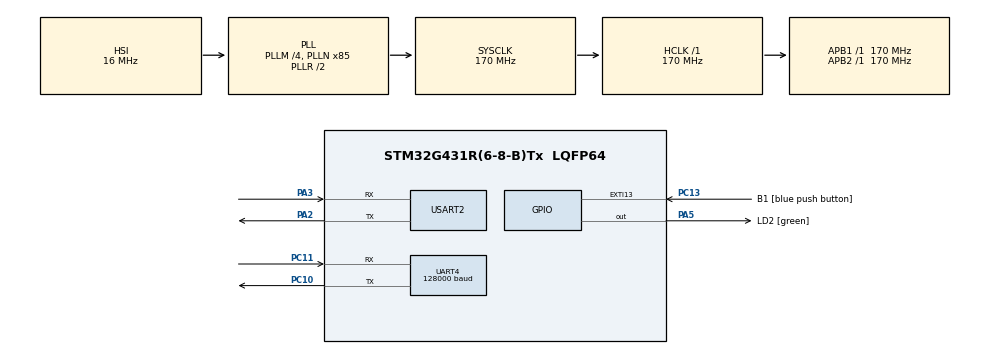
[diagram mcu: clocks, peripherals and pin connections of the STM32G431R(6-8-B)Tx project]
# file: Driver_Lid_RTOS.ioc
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Dma.Request0=UART4_RX
Dma.UART4_RX.0.Direction=DMA_PERIPH_TO_MEMORY
Dma.UART4_RX.0.EventEnable=DISABLE
Dma.UART4_RX.0.Instance=DMA1_Channel1
Dma.UART4_RX.0.MemDataAlignment=DMA_MDATAALIGN_BYTE
Dma.UART4_RX.0.MemInc=DMA_MINC_ENABLE
Dma.UART4_RX.0.Mode=DMA_CIRCULAR
Dma.UART4_RX.0.PeriphDataAlignment=DMA_PDATAALIGN_BYTE
Dma.UART4_RX.0.PeriphInc=DMA_PINC_DISABLE
Dma.UART4_RX.0.Polarity=HAL_DMAMUX_REQ_GEN_RISING
Dma.UART4_RX.0.Priority=DMA_PRIORITY_LOW
Dma.UART4_RX.0.RequestNumber=1
Dma.UART4_RX.0.SignalID=NONE
Dma.UART4_RX.0.SyncEnable=DISABLE
Dma.UART4_RX.0.SyncPolarity=HAL_DMAMUX_SYNC_NO_EVENT
Dma.UART4_RX.0.SyncRequestNumber=1
Dma.UART4_RX.0.SyncSignalID=NONE
FREERTOS.Tasks01=defaultTask,0,128,StartDefaultTask,Default,NULL,Dynamic,NULL,NULL
FREERTOS.configCHECK_FOR_STACK_OVERFLOW=2
FREERTOS.configGENERATE_RUN_TIME_STATS=1
FREERTOS.configRECORD_STACK_HIGH_ADDRESS=1
FREERTOS.configTOTAL_HEAP_SIZE=20000
FREERTOS.configUSE_NEWLIB_REENTRANT=0
FREERTOS.configUSE_STATS_FORMATTING_FUNCTIONS=1
FREERTOS.configUSE_TRACE_FACILITY=1
Mcu.Family=STM32G4
Mcu.Name=STM32G431R(6-8-B)Tx
Mcu.Package=LQFP64
NVIC.DMA1_Channel1_IRQn=true\:5\:0\:true\:false\:true\:true\:false\:true\:true
NVIC.PriorityGroup=NVIC_PRIORITYGROUP_4
NVIC.TIM6_DAC_IRQn=true\:15\:0\:false\:false\:true\:false\:false\:true\:true
NVIC.TimeBase=TIM6_DAC_IRQn
NVIC.TimeBaseIP=TIM6
NVIC.UART4_IRQn=true\:5\:0\:false\:false\:true\:true\:true\:true\:true
PA13.GPIO_Label=T_SWDIO
PA13.Signal=SYS_JTMS-SWDIO
PA14.GPIO_Label=T_SWCLK
PA14.Signal=SYS_JTCK-SWCLK
PA2.Mode=Asynchronous
PA2.Signal=USART2_TX
PA3.Mode=Asynchronous
PA3.Signal=USART2_RX
PA5.GPIO_Label=LD2 [green]
PA5.Signal=GPIO_Output
PB3.GPIO_Label=T_SWO
PB3.Signal=SYS_JTDO-SWO
PC10.Mode=Asynchronous
PC10.Signal=UART4_TX
PC11.Mode=Asynchronous
PC11.Signal=UART4_RX
PC13.GPIO_Label=B1 [blue push button]
PC13.Signal=GPXTI13
PC14-OSC32_IN.GPIO_Label=RCC_OSC32_OUT
PC14-OSC32_IN.Signal=RCC_OSC32_IN
PC15-OSC32_OUT.GPIO_Label=RCC_OSC32_OUT
PC15-OSC32_OUT.Signal=RCC_OSC32_OUT
PF0-OSC_IN.GPIO_Label=RCC_OSC_IN
PF0-OSC_IN.Signal=RCC_OSC_IN
PF1-OSC_OUT.GPIO_Label=RCC_OSC_OUT
PF1-OSC_OUT.Signal=RCC_OSC_OUT
ProjectManager.HeapSize=0x000
ProjectManager.StackSize=0x400
ProjectManager.TargetToolchain=STM32CubeIDE
RCC.ADC12Freq_Value=170000000
RCC.AHBFreq_Value=170000000
RCC.APB1Freq_Value=170000000
RCC.APB1TimFreq_Value=170000000
RCC.APB2Freq_Value=170000000
RCC.APB2TimFreq_Value=170000000
RCC.CortexFreq_Value=170000000
RCC.EXTERNAL_CLOCK_VALUE=12288000
RCC.HCLKFreq_Value=170000000
RCC.HSE_VALUE=24000000
RCC.HSI48_VALUE=48000000
RCC.HSI_VALUE=16000000
RCC.LSE_VALUE=32768
RCC.PLLM=RCC_PLLM_DIV4
RCC.PLLN=85
RCC.RTCClockSelection=RCC_RTCCLKSOURCE_LSE
RCC.SYSCLKFreq_VALUE=170000000
RCC.SYSCLKSource=RCC_SYSCLKSOURCE_PLLCLK
RCC.USBFreq_Value=170000000
RCC.VCOOutputFreq_Value=340000000
UART4.BaudRate=128000
USART2.VirtualMode-Asynchronous=VM_ASYNC
VP_FREERTOS_VS_CMSIS_V1.Mode=CMSIS_V1
VP_SYS_VS_DBSignals.Mode=DisableDeadBatterySignals
VP_SYS_VS_tim6.Mode=TIM6
board=NUCLEO-G431RB

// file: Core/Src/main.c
/* USER CODE BEGIN Header */
/**
  ******************************************************************************
  * @file           : main.c
  * @brief          : Main program body
  ******************************************************************************
  * @attention
  *
  * Copyright (c) 2024 STMicroelectronics.
  * All rights reserved.
  *
  * This software is licensed under terms that can be found in the LICENSE file
  * in the root directory of this software component.
  * If no LICENSE file comes with this software, it is provided AS-IS.
  *
  ******************************************************************************
  */
/* USER CODE END Header */
#include "main.h"
#include "cmsis_os.h"
#include "dma.h"
#include "usart.h"
#include "gpio.h"

/* USER CODE BEGIN Includes */
#include "drv_LIDAR.h"
#include <stdio.h>
#include <stdint.h>
#include <string.h>

/* USER CODE END Includes */

/* USER CODE BEGIN PD */
#define STACK_SIZE 256

#define DUREE 5000
#define DUREEP 30000
/* USER CODE END PD */

/* USER CODE BEGIN PV */
h_LIDAR_t lidar;
SemaphoreHandle_t semb_halfCllbck;
SemaphoreHandle_t semb_cpltCllbck;
/* USER CODE END PV */

void SystemClock_Config(void);
void MX_FREERTOS_Init(void);
/* USER CODE BEGIN PFP */

int __io_putchar(int ch) {
	HAL_UART_Transmit(&huart2, (uint8_t *)&ch, 1, HAL_MAX_DELAY);
	return ch;
}

// Définir les fonctions UART pour le mode polling
int uart_transmit(uint8_t *p_data, uint16_t size) {
    return HAL_UART_Transmit(&huart4, p_data, size, HAL_MAX_DELAY);
}

int uart_poll_receive(uint8_t *p_data, uint16_t size) {
    return HAL_UART_Receive(&huart4, p_data, size, 100);
}

int uart_it_receive(uint8_t *p_data, uint16_t size){
	HAL_UART_Receive_IT(&huart4, p_data, size);
	return 0;
}

int uart_it_transmit(uint8_t *p_data, uint16_t size){
	HAL_UART_Transmit_IT(&huart4, p_data, size);
	return 0;
}

int uart_dma_receive(uint8_t *p_data, uint16_t size){
	HAL_UART_Receive_DMA(&huart4, p_data, size);
	return 0;
}

int uart_dma_transmit(uint8_t *p_data, uint16_t size){
	HAL_UART_Transmit_DMA(&huart4, p_data, size);
	return 0;
}

/* USER CODE END PFP */

/* USER CODE BEGIN 0 */
void counter (void * pvParameters){
	char* s = pcTaskGetName(xTaskGetCurrentTaskHandle());

//
//	vTaskDelay(500);
//
//	  // Récupération des informations de l'appareil
//	  if (LIDAR_get_info(&lidar) == 0) {
//		  printf("LIDAR device information retrieved successfully.\r\n");
//	  } else {
//		  printf("Failed to retrieve LIDAR device information.\r\n");
//	  }
//
//	vTaskDelay(500);

//	  // Récupération de l'état de santé
//	  if (LIDAR_get_health_stat(&lidar) == 0) {
//		  printf("LIDAR health status retrieved successfully.\r\n");
//	  } else {
//		  printf("Failed to retrieve LIDAR health status.\r\n");
//	  }

//	vTaskDelay(500);

	while (1) {

		printf("Je suis la tache %s et je m'endors pour %d periodes\r\n", s, DUREEP);

		vTaskDelay(DUREEP);

		printf("LIDAR Scan Results (Angle: Distance in mm):\r\n");
	    for (int i = 0; i < 360; i++) {
	    		if (lidar.processing.point_buff[i] >= 0) { // Afficher uniquement les valeurs valides
	    			printf("Angle %3d: %4d mm\r\n", i, lidar.processing.point_buff[i]);
	    		} else {
	    			printf("Angle %3d: --- mm (No Data)\r\n", i);
	    		}
	    }

	    printf("\n");

		}
	}

void lidarTake (void * pvParameters){
	char* s = pcTaskGetName(xTaskGetCurrentTaskHandle());
	uint8_t* buff;

	  if (LIDAR_start_scan_dma(&lidar) == 0) {
	      printf("LIDAR scanning started successfully.\r\n");
	  } else {
	      printf("Failed to start LIDAR scanning.\r\n");
	  }

	for(;;){

		// Attente du Semahore de half buffer
		xSemaphoreTake(semb_halfCllbck, portMAX_DELAY);

		// Pointeur sur le début des données
		buff = lidar.processing.receive_buff;
		LIDAR_process_frame(&lidar, buff);

		// Attente du semaphore du complete buffer
		xSemaphoreTake(semb_cpltCllbck, portMAX_DELAY);

		// Pointeur sur la moitié des données
		buff = &lidar.processing.receive_buff[FRAME_BUFF_SIZE];
		LIDAR_process_frame(&lidar, buff);

		}
}

void lidarprocess (void * pvParameters){
	char* s = pcTaskGetName(xTaskGetCurrentTaskHandle());

	for(;;){
		printf("Je suis la tache %s et je m'endors pour %d periodes\r\n", s, DUREE);

	    medianFilter(&lidar);

	    find_clusters(&lidar);

	    printf("Clusters Maison trouvees : %d \r\n", lidar.processing.cluster_cnt);
//
//	    kMeansClustering(&lidar);
//
//	    printf("Clusters K-Means trouvees : %d \r\n", lidar.processing.cluster_cnt);

	    vTaskDelay(DUREE);
	}

}
/* USER CODE END 0 */

int main(void)
{

  /* USER CODE BEGIN 1 */
	BaseType_t xReturned;
	TaskHandle_t xHandle1 = NULL;
	TaskHandle_t xHandle2 = NULL;
	TaskHandle_t xHandle3 = NULL;
  /* USER CODE END 1 */

  /* MCU Configuration--------------------------------------------------------*/

  /* Reset of all peripherals, Initializes the Flash interface and the Systick. */
  HAL_Init();

  /* Configure the system clock */
  SystemClock_Config();

  /* Initialize all configured peripherals */
  MX_GPIO_Init();
  MX_DMA_Init();
  MX_USART2_UART_Init();
  MX_UART4_Init();
  /* USER CODE BEGIN 2 */
  printf("=================== DRIVER LIDAR =================== \r\n");

  /*
   * Allumage du LIDAR et mise en place de la rotation
   *
   */

  /*
   * Création des vérifications du lidar.
   *
   */

  semb_cpltCllbck = xSemaphoreCreateBinary();
  semb_halfCllbck = xSemaphoreCreateBinary();

	  // Déclaration et configuration de la structure h_LIDAR

	  lidar.serial_drv.transmit = uart_transmit;
	  lidar.serial_drv.poll_receive = uart_poll_receive;

	  lidar.serial_drv.it_receive=uart_it_receive;
	  lidar.serial_drv.it_transmit=uart_it_transmit;

	  lidar.serial_drv.dma_receive=uart_dma_receive;
	  lidar.serial_drv.dma_transmit=uart_dma_transmit;

	xReturned = xTaskCreate(
			lidarTake, // Function that implements the task.
			"lidarTake", // Text name for the task.
			STACK_SIZE, // Stack size in words, not bytes.
			(void *) NULL, // Parameter passed into the task.
			2,// Priority at which the task is created.
			&xHandle1 ); // Used to pass out the created task's handle.

	if (xReturned != pdPASS)
	{
		printf("Error creating Task\r\n");
		Error_Handler();
	}

	printf("Tasks created\r\n");

	xReturned = xTaskCreate(
			counter, // Function that implements the task.
			"counter", // Text name for the task.
			STACK_SIZE, // Stack size in words, not bytes.
			(void *) NULL, // Parameter passed into the task.
			tskIDLE_PRIORITY,// Priority at which the task is created.
			&xHandle2 ); // Used to pass out the created task's handle.

	if (xReturned != pdPASS)
	{
		printf("Error creating Task\r\n");
		Error_Handler();
	}

	printf("Tasks created\r\n");

	xReturned = xTaskCreate(
			lidarprocess, // Function that implements the task.
			"LidarProcess", // Text name for the task.
			STACK_SIZE, // Stack size in words, not bytes.
			(void *) NULL, // Parameter passed into the task.
			tskIDLE_PRIORITY,// Priority at which the task is created.
			&xHandle3 ); // Used to pass out the created task's handle.

	if (xReturned != pdPASS)
	{
		printf("Error creating Task\r\n");
		Error_Handler();
	}

	printf("Tasks created\r\n");

	vTaskStartScheduler();
  /* USER CODE END 2 */

  /* Call init function for freertos objects (in cmsis_os2.c) */
  MX_FREERTOS_Init();

  /* Start scheduler */
  osKernelStart();

  /* We should never get here as control is now taken by the scheduler */

  /* Infinite loop */
  while (1)
  {

  }
}

void SystemClock_Config(void)
{
  RCC_OscInitTypeDef RCC_OscInitStruct = {0};
  RCC_ClkInitTypeDef RCC_ClkInitStruct = {0};

  /** Configure the main internal regulator output voltage
  */
  HAL_PWREx_ControlVoltageScaling(PWR_REGULATOR_VOLTAGE_SCALE1_BOOST);

  /** Initializes the RCC Oscillators according to the specified parameters
  * in the RCC_OscInitTypeDef structure.
  */
  RCC_OscInitStruct.OscillatorType = RCC_OSCILLATORTYPE_HSI;
  RCC_OscInitStruct.HSIState = RCC_HSI_ON;
  RCC_OscInitStruct.HSICalibrationValue = RCC_HSICALIBRATION_DEFAULT;
  RCC_OscInitStruct.PLL.PLLState = RCC_PLL_ON;
  RCC_OscInitStruct.PLL.PLLSource = RCC_PLLSOURCE_HSI;
  RCC_OscInitStruct.PLL.PLLM = RCC_PLLM_DIV4;
  RCC_OscInitStruct.PLL.PLLN = 85;
  RCC_OscInitStruct.PLL.PLLP = RCC_PLLP_DIV2;
  RCC_OscInitStruct.PLL.PLLQ = RCC_PLLQ_DIV2;
  RCC_OscInitStruct.PLL.PLLR = RCC_PLLR_DIV2;
  if (HAL_RCC_OscConfig(&RCC_OscInitStruct) != HAL_OK)
  {
    Error_Handler();
  }

  /** Initializes the CPU, AHB and APB buses clocks
  */
  RCC_ClkInitStruct.ClockType = RCC_CLOCKTYPE_HCLK|RCC_CLOCKTYPE_SYSCLK
                              |RCC_CLOCKTYPE_PCLK1|RCC_CLOCKTYPE_PCLK2;
  RCC_ClkInitStruct.SYSCLKSource = RCC_SYSCLKSOURCE_PLLCLK;
  RCC_ClkInitStruct.AHBCLKDivider = RCC_SYSCLK_DIV1;
  RCC_ClkInitStruct.APB1CLKDivider = RCC_HCLK_DIV1;
  RCC_ClkInitStruct.APB2CLKDivider = RCC_HCLK_DIV1;

  if (HAL_RCC_ClockConfig(&RCC_ClkInitStruct, FLASH_LATENCY_4) != HAL_OK)
  {
    Error_Handler();
  }
}

/* USER CODE BEGIN 4 */

void HAL_UART_RxHalfCpltCallback(UART_HandleTypeDef *huart) {

    if (huart->Instance == UART4) {

    	BaseType_t higher_priority_task_woken = pdFALSE;
    	xSemaphoreGiveFromISR(semb_halfCllbck, &higher_priority_task_woken);

    	portYIELD_FROM_ISR(higher_priority_task_woken);

    }
}

void HAL_UART_RxCpltCallback(UART_HandleTypeDef *huart) {
    if (huart->Instance == UART4){

		BaseType_t higher_priority_task_woken = pdFALSE;
    	xSemaphoreGiveFromISR(semb_cpltCllbck, &higher_priority_task_woken);

    	portYIELD_FROM_ISR(higher_priority_task_woken);

    }
}

/* USER CODE END 4 */

void HAL_TIM_PeriodElapsedCallback(TIM_HandleTypeDef *htim)
{
  if (htim->Instance == TIM6) {
    HAL_IncTick();
  }
}

void Error_Handler(void)
{
  __disable_irq();
  while (1)
  {
  }
}
